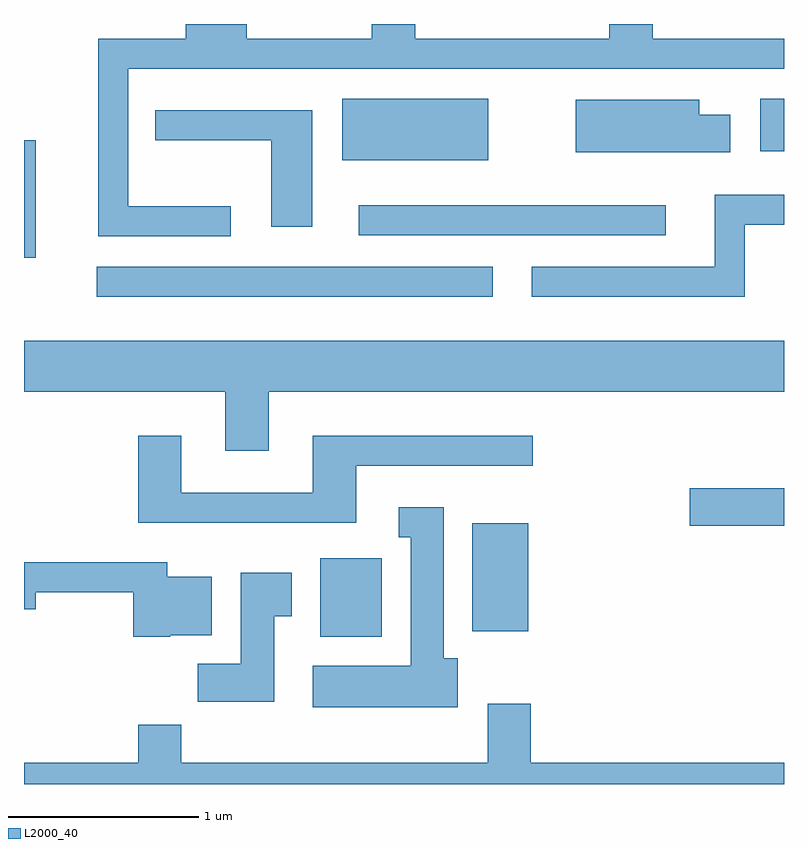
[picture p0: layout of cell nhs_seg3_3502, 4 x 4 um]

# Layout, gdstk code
import gdstk
lib = gdstk.Library(unit=1e-6, precision=1e-09)
def R(c, l, rs):  # rectangles x0, y0, x1, y1
    for r in rs: c.add(gdstk.rectangle(r[:2], r[2:], *l))
def P(c, l, *ps):  # polygons
    for p in ps: c.add(gdstk.Polygon(p, *l))
L2000_40 = (2000, 40)

nhs_seg3_3502 = lib.new_cell('nhs_seg3_3502')
R(nhs_seg3_3502, L2000_40, [(289.171,1184.666,289.494,1185.079), (289.971,1184.696,290.264,1185.264), (291.116,1185.251,291.611,1185.449), (287.993,1186.456,290.078,1186.614), (287.611,1186.661,287.674,1187.279), (289.373,1186.781,290.988,1186.939), (289.286,1187.176,290.054,1187.499), (291.486,1187.221,291.611,1187.499)])
P(nhs_seg3_3502, L2000_40, [(288.698,1186.934),(288.159,1186.934),(288.159,1187.656),(291.611,1187.656),(291.611,1187.814),(290.919,1187.814),(290.919,1187.892),(290.691,1187.892),(290.691,1187.814),(289.669,1187.814),(289.669,1187.892),(289.441,1187.892),(289.441,1187.814),(288.784,1187.814),(288.784,1187.892),(288.461,1187.892),(288.461,1187.814),(288.001,1187.814),(288.001,1186.776),(288.698,1186.776)],
  [(291.329,1187.414),(291.164,1187.414),(291.164,1187.494),(290.516,1187.494),(290.516,1187.216),(291.329,1187.216)],
  [(289.129,1187.439),(288.303,1187.439),(288.303,1187.281),(288.911,1187.281),(288.911,1186.826),(289.129,1186.826)],
  [(291.404,1186.836),(291.611,1186.836),(291.611,1186.994),(291.246,1186.994),(291.246,1186.614),(290.283,1186.614),(290.283,1186.456),(291.404,1186.456)],
  [(288.899,1185.956),(291.611,1185.956),(291.611,1186.224),(287.611,1186.224),(287.611,1185.956),(288.671,1185.956),(288.671,1185.646),(288.899,1185.646)],
  [(289.359,1185.566),(290.288,1185.566),(290.288,1185.724),(289.131,1185.724),(289.131,1185.424),(288.439,1185.424),(288.439,1185.724),(288.211,1185.724),(288.211,1185.266),(289.359,1185.266)],
  [(289.894,1184.554),(289.819,1184.554),(289.819,1185.349),(289.583,1185.349),(289.583,1185.191),(289.646,1185.191),(289.646,1184.514),(289.131,1184.514),(289.131,1184.296),(289.894,1184.296)],
  [(288.38,1184.676),(288.599,1184.676),(288.599,1184.984),(288.364,1184.984),(288.364,1185.059),(287.611,1185.059),(287.611,1184.811),(287.674,1184.811),(287.674,1184.901),(288.186,1184.901),(288.186,1184.666),(288.38,1184.666)],
  [(288.929,1184.776),(289.019,1184.776),(289.019,1185.004),(288.751,1185.004),(288.751,1184.524),(288.526,1184.524),(288.526,1184.326),(288.929,1184.326)],
  [(291.611,1184.004),(290.279,1184.004),(290.279,1184.314),(290.051,1184.314),(290.051,1184.004),(288.439,1184.004),(288.439,1184.204),(288.211,1184.204),(288.211,1184.004),(287.611,1184.004),(287.611,1183.892),(291.611,1183.892)])

lib.write_gds('nhs_seg3_3502.gds')
